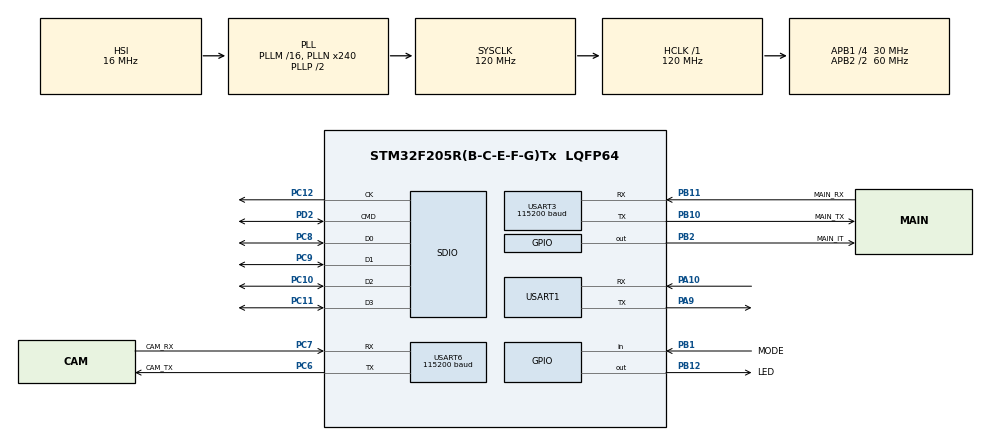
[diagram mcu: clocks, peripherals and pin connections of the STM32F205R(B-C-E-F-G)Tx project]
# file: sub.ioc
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FATFS._CODE_PAGE=1
FATFS._MAX_SS=4096
Mcu.Family=STM32F2
Mcu.Name=STM32F205R(B-C-E-F-G)Tx
Mcu.Package=LQFP64
NVIC.PriorityGroup=NVIC_PRIORITYGROUP_4
NVIC.USART3_IRQn=true\:1\:0\:true\:false\:true\:true\:true
PA10.Mode=Asynchronous
PA10.Signal=USART1_RX
PA13.Mode=Serial_Wire
PA13.Signal=SYS_JTMS-SWDIO
PA14.Mode=Serial_Wire
PA14.Signal=SYS_JTCK-SWCLK
PA9.Mode=Asynchronous
PA9.Signal=USART1_TX
PB1.GPIO_Label=MODE
PB1.Signal=GPIO_Input
PB10.GPIO_Label=MAIN_TX
PB10.Mode=Asynchronous
PB10.Signal=USART3_TX
PB11.GPIO_Label=MAIN_RX
PB11.Mode=Asynchronous
PB11.Signal=USART3_RX
PB12.GPIO_Label=LED
PB12.Signal=GPIO_Output
PB2.GPIO_Label=MAIN_IT
PB2.GPIO_Speed=GPIO_SPEED_FREQ_VERY_HIGH
PB2.Signal=GPIO_Output
PC10.Mode=SD_4_bits_Wide_bus
PC10.Signal=SDIO_D2
PC11.Mode=SD_4_bits_Wide_bus
PC11.Signal=SDIO_D3
PC12.Mode=SD_4_bits_Wide_bus
PC12.Signal=SDIO_CK
PC6.GPIO_Label=CAM_TX
PC6.Mode=Asynchronous
PC6.Signal=USART6_TX
PC7.GPIO_Label=CAM_RX
PC7.Mode=Asynchronous
PC7.Signal=USART6_RX
PC8.Mode=SD_4_bits_Wide_bus
PC8.Signal=SDIO_D0
PC9.Mode=SD_4_bits_Wide_bus
PC9.Signal=SDIO_D1
PD2.Mode=SD_4_bits_Wide_bus
PD2.Signal=SDIO_CMD
ProjectManager.HeapSize=0x200
ProjectManager.StackSize=0x400
ProjectManager.TargetToolchain=Makefile
RCC.48MHZClocksFreq_Value=48000000
RCC.AHBFreq_Value=120000000
RCC.APB1CLKDivider=RCC_HCLK_DIV4
RCC.APB1Freq_Value=30000000
RCC.APB1TimFreq_Value=60000000
RCC.APB2CLKDivider=RCC_HCLK_DIV2
RCC.APB2Freq_Value=60000000
RCC.APB2TimFreq_Value=120000000
RCC.CortexFreq_Value=120000000
RCC.HCLKFreq_Value=120000000
RCC.HSE_VALUE=25000000
RCC.HSI_VALUE=16000000
RCC.LSE_VALUE=32768
RCC.PLLN=240
RCC.PLLQ=5
RCC.SYSCLKFreq_VALUE=120000000
RCC.SYSCLKSource=RCC_SYSCLKSOURCE_PLLCLK
RCC.VCOOutputFreq_Value=240000000
SDIO.ClockDiv=8
USART1.VirtualMode=VM_ASYNC
USART3.BaudRate=115200
USART3.VirtualMode=VM_ASYNC
USART6.BaudRate=115200
USART6.VirtualMode=VM_ASYNC
VP_FATFS_VS_SDIO.Mode=SDIO
board=custom

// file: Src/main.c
/* USER CODE BEGIN Header */
/**
  ******************************************************************************
  * @file           : main.c
  * @brief          : Main program body
  ******************************************************************************
  * @attention
  *
  * <h2><center>&copy; Copyright (c) 2019 STMicroelectronics.
  * All rights reserved.</center></h2>
  *
  * This software component is licensed by ST under BSD 3-Clause license,
  * the "License"; You may not use this file except in compliance with the
  * License. You may obtain a copy of the License at:
  *                        opensource.org/licenses/BSD-3-Clause
  *
  ******************************************************************************
  */
/* USER CODE END Header */

#include "main.h"
#include "fatfs.h"
#include "sdio.h"
#include "usart.h"
#include "gpio.h"

/* USER CODE BEGIN Includes */
#include <stdio.h>
#include <string.h>
#include "sd.h"
#include "C1098.h"
#include "jpeg_SW.h"
/* USER CODE END Includes */

/* USER CODE BEGIN PV */
void __io_putchar(uint8_t ch) {
	HAL_UART_Transmit(&huart1, &ch, 1, 1);
	//1:PC 3:main 6:cam
}
/* USER CODE END PV */

void SystemClock_Config(void);
/* USER CODE BEGIN PFP */

#define MAIN_RX_BUFF_SIZE 128
#define MAIN_RX_BUFF_NUM 40
static int main_rx_buff_index;
static unsigned int count_rxIT;
static uint8_t main_rx_buff[MAIN_RX_BUFF_SIZE * MAIN_RX_BUFF_NUM];

/* USER CODE END PFP */

/* USER CODE BEGIN 0 */

void HAL_UART_RxCpltCallback(UART_HandleTypeDef* UartHandle) {
	if (UartHandle->Instance == USART3) {
		count_rxIT++;
		main_rx_buff_index++;
		main_rx_buff_index = main_rx_buff_index % MAIN_RX_BUFF_NUM;
		__HAL_UART_CLEAR_OREFLAG(&huart3);
		__HAL_UART_CLEAR_NEFLAG(&huart3);
		__HAL_UART_CLEAR_FEFLAG(&huart3);
		__HAL_UART_DISABLE_IT(&huart3, UART_IT_PE);
		__HAL_UART_DISABLE_IT(&huart3, UART_IT_ERR);
        HAL_UART_Receive_IT(&huart3, &main_rx_buff[main_rx_buff_index * MAIN_RX_BUFF_SIZE], MAIN_RX_BUFF_SIZE);
	}
}

void reset_main_uart() {
	HAL_UART_DeInit(&huart3);
	printf("HAL_UART_DeInit(&huart3)\n");
	HAL_UART_Init(&huart3);
	printf("HAL_UART_Init(&huart3)\n");
	__HAL_UART_CLEAR_OREFLAG(&huart3);
	__HAL_UART_CLEAR_NEFLAG(&huart3);
	__HAL_UART_CLEAR_FEFLAG(&huart3);
	__HAL_UART_DISABLE_IT(&huart3, UART_IT_PE);
	__HAL_UART_DISABLE_IT(&huart3, UART_IT_ERR);
	HAL_UART_Receive_IT(&huart3, &main_rx_buff[main_rx_buff_index * MAIN_RX_BUFF_SIZE], MAIN_RX_BUFF_SIZE);
}
/* USER CODE END 0 */

int main(void)
{

  /* MCU Configuration--------------------------------------------------------*/

  /* Reset of all peripherals, Initializes the Flash interface and the Systick. */
  HAL_Init();

  /* Configure the system clock */
  SystemClock_Config();

  /* Initialize all configured peripherals */
  MX_GPIO_Init();
  MX_SDIO_SD_Init();
  MX_USART1_UART_Init();
  MX_USART3_UART_Init();
  MX_USART6_UART_Init();
  MX_FATFS_Init();
  /* USER CODE BEGIN 2 */

  static IODEV jpeg;
  uint32_t jpeg_num = 0;

  int c = 0;
  int error_count = 0;
  uint8_t written_index;

  printf("SUB\n");

  memset(&main_rx_buff[0], 0, MAIN_RX_BUFF_SIZE * MAIN_RX_BUFF_NUM);

  while (1) {
	  CAMERARESULT  res = init_C1098();
	  if (res == CAMERA_OK)break;
	  else printf("init_C1098() error: %u \n", res);
  }

  printf("Init Camera\n");

  sd_init();

  changeMode(GOAL);

  count_rxIT = 0;
  main_rx_buff_index = 0;
  written_index = main_rx_buff_index;

  __HAL_UART_CLEAR_OREFLAG(&huart3);
  __HAL_UART_CLEAR_NEFLAG(&huart3);
  __HAL_UART_CLEAR_FEFLAG(&huart3);
  __HAL_UART_DISABLE_IT(&huart3, UART_IT_PE);
  __HAL_UART_DISABLE_IT(&huart3, UART_IT_ERR);
  HAL_UART_Receive_IT(&huart3, &main_rx_buff[main_rx_buff_index* MAIN_RX_BUFF_SIZE], MAIN_RX_BUFF_SIZE);

  /* USER CODE END 2 */

  /* Infinite loop */
  while (1)
  {

    /* USER CODE BEGIN 3 */

      //Change Target Color
	  GPIO_PinState mode = HAL_GPIO_ReadPin(MODE_GPIO_Port, MODE_Pin);
	  changeMode(mode);

	  printf("%4d %c  ", c, (mode == GOAL ? 'G' : 'P'));

      //Get Picture
	  for (int n = 0; n < 5; n++) {
		  while (snapShot() != CAMERA_OK);
		  getPicture(jpeg.data, MAX_SIZE, &jpeg.size);
		  if (jpeg.size > 1024)break;
	  }

	  sd_writeJpg(jpeg.data, jpeg.size, &jpeg_num);

      //Decode
	  if (decode(&jpeg) == 0) {
		  HAL_GPIO_WritePin(LED_GPIO_Port, LED_Pin, GPIO_PIN_SET);
	  }
	  printf("%ldB %05ld.jpg  ", jpeg.size, jpeg_num);
	  printf("xc=%3ld yc=%3ld s=%5ld ", jpeg.xc, jpeg.yc, jpeg.s);

	  //Transmit Image Data
	  HAL_GPIO_WritePin(MAIN_IT_GPIO_Port, MAIN_IT_Pin, GPIO_PIN_SET);
	  HAL_Delay(1);
	  uint8_t tx_buff[11];
	  tx_buff[0] = '$';
	  HAL_UART_Transmit(&huart3, tx_buff, 1, 15);
	  tx_buff[0] = 'O';
	  tx_buff[1] = (uint8_t)(jpeg_num >> 8);
	  tx_buff[2] = (uint8_t)(jpeg_num);
	  tx_buff[3] = (uint8_t)(jpeg.xc >> 8);
	  tx_buff[4] = (uint8_t)(jpeg.xc);
	  tx_buff[5] = (uint8_t)(jpeg.yc >> 8);
	  tx_buff[6] = (uint8_t)(jpeg.yc);
	  tx_buff[7] = (uint8_t)(jpeg.s >> 16);
	  tx_buff[8] = (uint8_t)(jpeg.s >> 8);
	  tx_buff[9] = (uint8_t)(jpeg.s);
	  tx_buff[10] = 'o';
	  HAL_UART_Transmit(&huart3, tx_buff, 11, 15);
	  HAL_GPIO_WritePin(MAIN_IT_GPIO_Port, MAIN_IT_Pin, GPIO_PIN_RESET);

	  //LOG DATA
	  printf("c = %d", count_rxIT);
	  int fw_res = 0;
	  while (1) {
		  if (written_index == main_rx_buff_index) {
			  if (fw_res == 0)HAL_GPIO_WritePin(LED_GPIO_Port, LED_Pin, GPIO_PIN_RESET);
			  break;
		  }
		  fw_res = sd_writeLog((char*)& main_rx_buff[written_index * MAIN_RX_BUFF_SIZE], MAIN_RX_BUFF_SIZE);
		  written_index++;
		  written_index = written_index % MAIN_RX_BUFF_NUM;
	  }
	  if (count_rxIT == 0) {
		  error_count++;
		  if (error_count == 2) {
			  reset_main_uart();
		  }
	  }
	  else {
		  error_count = 0;
	  }
	  count_rxIT = 0;

	  printf("\n");
	  c++;
  }
  /* USER CODE END 3 */
}

void SystemClock_Config(void)
{
  RCC_OscInitTypeDef RCC_OscInitStruct = {0};
  RCC_ClkInitTypeDef RCC_ClkInitStruct = {0};

  /** Initializes the CPU, AHB and APB busses clocks
  */
  RCC_OscInitStruct.OscillatorType = RCC_OSCILLATORTYPE_HSI;
  RCC_OscInitStruct.HSIState = RCC_HSI_ON;
  RCC_OscInitStruct.HSICalibrationValue = RCC_HSICALIBRATION_DEFAULT;
  RCC_OscInitStruct.PLL.PLLState = RCC_PLL_ON;
  RCC_OscInitStruct.PLL.PLLSource = RCC_PLLSOURCE_HSI;
  RCC_OscInitStruct.PLL.PLLM = 16;
  RCC_OscInitStruct.PLL.PLLN = 240;
  RCC_OscInitStruct.PLL.PLLP = RCC_PLLP_DIV2;
  RCC_OscInitStruct.PLL.PLLQ = 5;
  if (HAL_RCC_OscConfig(&RCC_OscInitStruct) != HAL_OK)
  {
    Error_Handler();
  }
  /** Initializes the CPU, AHB and APB busses clocks
  */
  RCC_ClkInitStruct.ClockType = RCC_CLOCKTYPE_HCLK|RCC_CLOCKTYPE_SYSCLK
                              |RCC_CLOCKTYPE_PCLK1|RCC_CLOCKTYPE_PCLK2;
  RCC_ClkInitStruct.SYSCLKSource = RCC_SYSCLKSOURCE_PLLCLK;
  RCC_ClkInitStruct.AHBCLKDivider = RCC_SYSCLK_DIV1;
  RCC_ClkInitStruct.APB1CLKDivider = RCC_HCLK_DIV4;
  RCC_ClkInitStruct.APB2CLKDivider = RCC_HCLK_DIV2;

  if (HAL_RCC_ClockConfig(&RCC_ClkInitStruct, FLASH_LATENCY_3) != HAL_OK)
  {
    Error_Handler();
  }
}

void Error_Handler(void)
{
}

/************************ (C) COPYRIGHT STMicroelectronics *****END OF FILE****/
